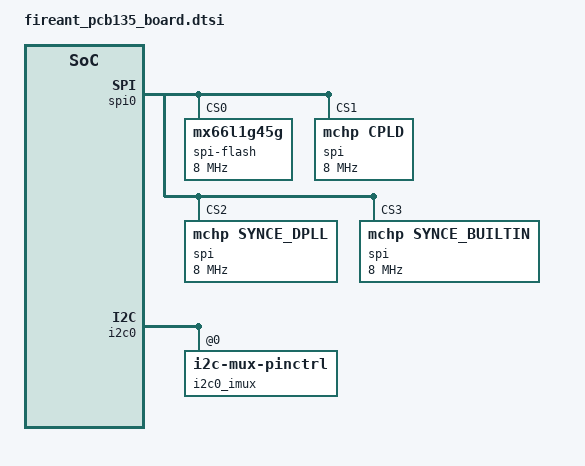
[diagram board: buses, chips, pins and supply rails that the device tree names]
// SPDX-License-Identifier: (GPL-2.0+ OR MIT)
/*
 * Copyright (c) 2018 Microsemi Corporation
 */

/dts-v1/;
#include "fireant_pcb_common.dtsi"

/{
	aliases {
	    i2c0   = &i2c0;
	    i2c152 = &i2c152;
	    i2c153 = &i2c153;
	    i2c154 = &i2c154;
	    i2c155 = &i2c155;
	};
};

&gpio {
	cpld_pins: cpld-pins {
		// CS1
		pins = "GPIO_16";
		function = "si";
	};
	synce_pins: synce-pins {
		// CS2
		pins = "GPIO_17";
		function = "si";
	};
	synce_builtin_pins: synce-builtin-pins {
		// CS3
		pins = "GPIO_18";
		function = "si";
	};
	i2cmux_pins_i: i2cmux-pins-i {
               pins = "GPIO_35", "GPIO_36",
                      "GPIO_50", "GPIO_51";
		function = "twi_scl_m";
		output-low;
	};
	i2cmux_s29: i2cmux-0 {
		pins = "GPIO_35";
		function = "twi_scl_m";
		output-high;
	};
	i2cmux_s30: i2cmux-1 {
		pins = "GPIO_36";
		function = "twi_scl_m";
		output-high;
	};
	i2cmux_s31: i2cmux-2 {
		pins = "GPIO_50";
		function = "twi_scl_m";
		output-high;
	};
	i2cmux_s32: i2cmux-3 {
		pins = "GPIO_51";
		function = "twi_scl_m";
		output-high;
	};
};

&spi0 {
	status = "okay";
	spi-flash@0 {
		compatible = "mx66l1g45g", "jedec,spi-nor";
		spi-max-frequency = <8000000>;
		reg = <0>;
	};
	// cpld
	spi@1 {
		compatible = "mchp,cpld";
		reg = <1>;
		pinctrl-0 = <&cpld_pins>;
		pinctrl-names = "default";
		spi-max-frequency = <8000000>;
	};
	// synce module
	spi@2 {
		compatible = "mchp,synce_dpll";
		reg = <2>;
		pinctrl-0 = <&synce_pins>;
		pinctrl-names = "default";
		spi-max-frequency = <8000000>;
	};
	// redwood onboard ptp dpll
	spi@3 {
		compatible = "mchp,synce_builtin";
		reg = <3>;
		pinctrl-0 = <&synce_builtin_pins>;
		pinctrl-names = "default";
		spi-max-frequency = <8000000>;
	};
};

&axi {
	i2c0_imux: i2c0-imux@0 {
		compatible = "i2c-mux-pinctrl";
		#address-cells = <1>;
		#size-cells = <0>;
		i2c-parent = <&i2c0>;
	};
};

&i2c0_imux {
	pinctrl-names =
		"i2c152", "i2c153", "i2c154", "i2c155",
		"idle";
	pinctrl-0 = <&i2cmux_s29>;
	pinctrl-1 = <&i2cmux_s30>;
	pinctrl-2 = <&i2cmux_s31>;
	pinctrl-3 = <&i2cmux_s32>;
	pinctrl-4 = <&i2cmux_pins_i>;
	i2c152: i2c_sfp1 {
		reg = <0x0>;
		#address-cells = <1>;
		#size-cells = <0>;
	};
	i2c153: i2c_sfp2 {
		reg = <0x1>;
		#address-cells = <1>;
		#size-cells = <0>;
	};
	i2c154: i2c_sfp3 {
		reg = <0x2>;
		#address-cells = <1>;
		#size-cells = <0>;
	};
	i2c155: i2c_sfp4 {
		reg = <0x3>;
		#address-cells = <1>;
		#size-cells = <0>;
	};
};
